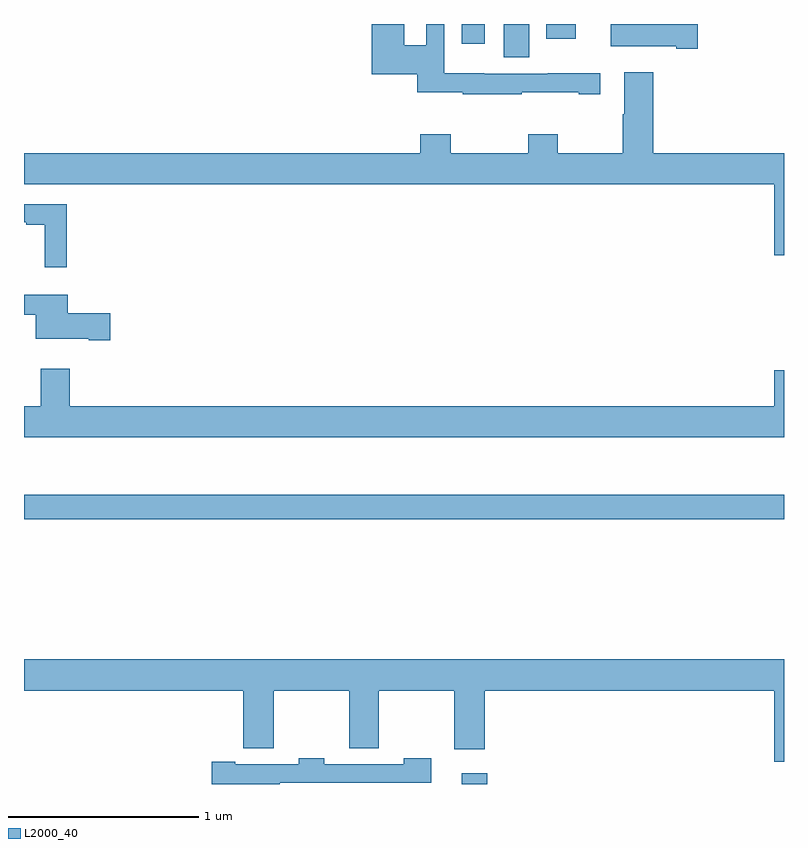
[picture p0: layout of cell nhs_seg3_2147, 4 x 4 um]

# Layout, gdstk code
import gdstk
lib = gdstk.Library(unit=1e-6, precision=1e-09)
def R(c, l, rs):  # rectangles x0, y0, x1, y1
    for r in rs: c.add(gdstk.rectangle(r[:2], r[2:], *l))
def P(c, l, *ps):  # polygons
    for p in ps: c.add(gdstk.Polygon(p, *l))
L2000_40 = (2000, 40)

nhs_seg3_2147 = lib.new_cell('nhs_seg3_2147')
R(nhs_seg3_2147, L2000_40, [(223.304,724.4,223.439,724.456), (221,725.794,225,725.923), (223.526,728.224,223.66,728.4), (223.304,728.295,223.426,728.4), (223.748,728.322,223.903,728.4)])
P(nhs_seg3_2147, L2000_40, [(223.619,728.041),(223.919,728.041),(223.919,728.031),(224.032,728.031),(224.032,728.141),(223.756,728.141),(223.756,728.139),(223.422,728.139),(223.422,728.14),(223.212,728.14),(223.212,728.4),(223.116,728.4),(223.116,728.288),(223,728.288),(223,728.4),(222.83,728.4),(222.83,728.135),(223.07,728.135),(223.07,728.041),(223.309,728.041),(223.309,728.031),(223.619,728.031)],
  [(224.545,728.4),(224.087,728.4),(224.087,728.282),(224.432,728.282),(224.432,728.27),(224.545,728.27)],
  [(225,727.72),(224.312,727.72),(224.312,728.146),(224.159,728.146),(224.159,727.925),(224.152,727.925),(224.152,727.72),(223.809,727.72),(223.809,727.819),(223.654,727.819),(223.654,727.72),(223.245,727.72),(223.245,727.819),(223.085,727.819),(223.085,727.72),(221,727.72),(221,727.556),(224.948,727.556),(224.948,727.182),(225,727.182)],
  [(221.225,727.452),(221,727.452),(221,727.356),(221.012,727.356),(221.012,727.344),(221.108,727.344),(221.108,727.119),(221.225,727.119)],
  [(221.455,726.878),(221.23,726.878),(221.23,726.976),(221,726.976),(221,726.869),(221.063,726.869),(221.063,726.743),(221.342,726.743),(221.342,726.736),(221.455,726.736)],
  [(225,726.577),(224.948,726.577),(224.948,726.388),(221.24,726.388),(221.24,726.586),(221.087,726.586),(221.087,726.388),(221,726.388),(221,726.224),(225,726.224)],
  [(225,725.056),(221,725.056),(221,724.892),(222.155,724.892),(222.155,724.588),(222.314,724.588),(222.314,724.892),(222.712,724.892),(222.712,724.588),(222.866,724.588),(222.866,724.892),(223.264,724.892),(223.264,724.584),(223.424,724.584),(223.424,724.892),(224.948,724.892),(224.948,724.518),(225,724.518)],
  [(222.347,724.407),(223.144,724.407),(223.144,724.536),(222.999,724.536),(222.999,724.503),(222.579,724.503),(222.579,724.536),(222.447,724.536),(222.447,724.503),(222.112,724.503),(222.112,724.516),(221.989,724.516),(221.989,724.4),(222.347,724.4)])

lib.write_gds('nhs_seg3_2147.gds')
